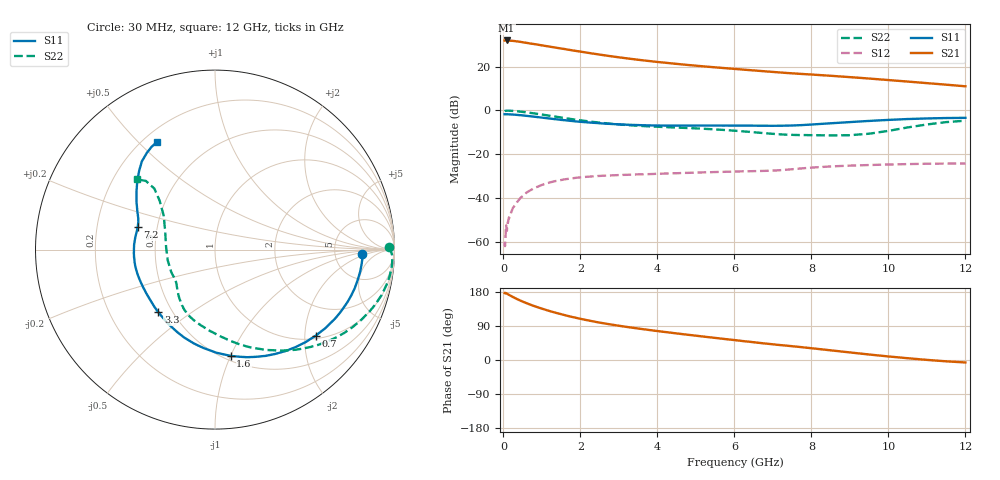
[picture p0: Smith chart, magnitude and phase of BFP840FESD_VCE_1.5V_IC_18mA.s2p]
! Infineon Technologies  Discrete & RF Semiconductors
! BFP840FESD
! VCE =  1.5 V,  IC =  18 mA
! Common Emitter S-Parameters:  May 2012
# GHz  S  MA  R  50
!  f  S11  S21  S12  S22
! GHz  MAG  ANG  MAG  ANG  MAG  ANG  MAG  ANG
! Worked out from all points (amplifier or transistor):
!   103 points, 30 MHz to 12 GHz, reference 50 ohm
!   highest |S21| = 32.0 dB at 80 MHz (marker M1)
!   |S21| within 3 dB of that: start of sweep to 1.261 GHz
!   unconditionally stable (mu >= 1): 5.919 GHz to end of sweep
!   at 400 MHz: K = 0.13, MSG = 36.1 dB, |S12| = -40.8 dB
!   at 3.7 GHz: K = 0.70, MSG = 25.9 dB, |S12| = -29.1 dB
!   at 12 GHz: K = 1.12, MAG = 15.6 dB, |S12| = -24.2 dB
!   S11 on the Smith chart (normalised r, x): 30 MHz: 10, -2; 700 MHz: 1.08, -2.28; 1.6 GHz: 0.54, -1.00; 3.3 GHz: 0.42, -0.38; 7.2 GHz: 0.39, +0.12; 12 GHz: 0.25, +0.57
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0.03  0.8208 -1.8  39.47 176.6  0.001 121.6  0.9676 0.7
0.04  0.8219 -2.5  39.53 176.2  0.0008 78.2  0.9756 0.0
0.05  0.8211 -3.2  39.6 177.1  0.0011 78.6  0.9807 -0.6
0.08  0.821 -5.0  39.7 175.5  0.0021 88.6  0.9875 -2.4
0.25  0.8076 -15.5  38.77 166.1  0.0061 79.5  0.9777 -11.0
0.4  0.7865 -24.3  37.27 158.6  0.0091 77.1  0.9498 -17.6
0.5  0.7716 -29.9  36.13 154.1  0.0111 74.2  0.9286 -21.6
0.7  0.7386 -40.4  33.83 146.0  0.0151 67.6  0.8817 -29.1
0.9  0.7045 -50.5  31.73 138.8  0.0184 62.6  0.8325 -36.1
1.1  0.6712 -60.0  29.63 132.3  0.0214 58.2  0.7835 -42.6
1.3  0.6398 -69.0  27.75 126.3  0.0239 54.0  0.736 -48.6
1.6  0.5988 -81.6  25.21 118.2  0.0269 48.8  0.6703 -57.1
2.1  0.5431 -99.8  21.39 106.5  0.0304 42.1  0.5816 -69.7
2.6  0.5046 -114.9  18.31 96.9  0.0325 37.6  0.5174 -80.1
3.3  0.4705 -132.1  15.12 85.9  0.0343 34.2  0.4594 -92.0
4.1  0.4535 -148.2  12.57 75.1  0.0361 32.3  0.4219 -102.9
5  0.4527 -163.1  10.54 64.1  0.0382 31.8  0.3902 -113.0
6.1  0.4517 -178.8  8.76 51.4  0.0406 31.4  0.3406 -125.2
7.2  0.4489 163.7  7.361 39.3  0.0435 34.7  0.2853 -139.2
8.5  0.5107 148.9  6.202 25.5  0.0529 33.0  0.27 -167.0
10.5  0.6383 129.7  4.576 4.7  0.0598 26.1  0.4106 138.6
12  0.6801 118.6  3.567 -6.5  0.0616 23.6  0.5855 138.0
